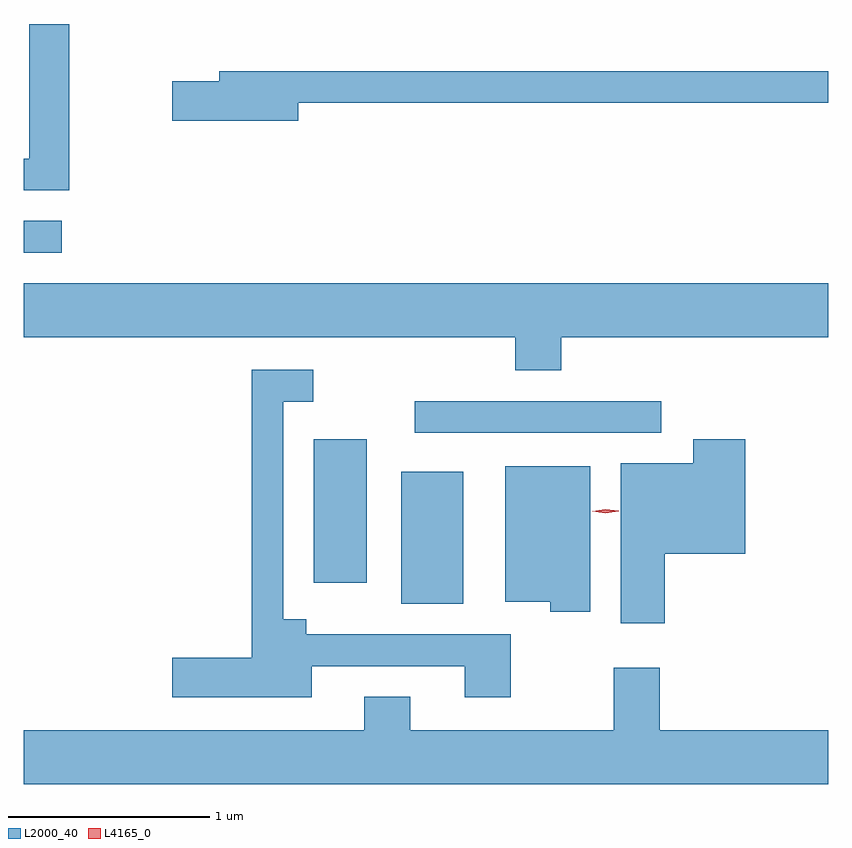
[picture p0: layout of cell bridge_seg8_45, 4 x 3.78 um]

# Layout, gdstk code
import gdstk
lib = gdstk.Library(unit=1e-6, precision=1e-09)
def R(c, l, rs):  # rectangles x0, y0, x1, y1
    for r in rs: c.add(gdstk.rectangle(r[:2], r[2:], *l))
def P(c, l, *ps):  # polygons
    for p in ps: c.add(gdstk.Polygon(p, *l))
L2000_40 = (2000, 40)
L4165_0 = (4165, 0)

bridge_seg8_45 = lib.new_cell('bridge_seg8_45')
R(bridge_seg8_45, L2000_40, [(1588.736,1910.571,1589.044,1911.229), (1588.301,1910.676,1588.564,1911.389), (1588.803,1911.421,1590.028,1911.579), (1586.858,1912.316,1587.048,1912.474)])
P(bridge_seg8_45, L2000_40, [(1587.084,1913.453),(1586.886,1913.453),(1586.886,1912.784),(1586.858,1912.784),(1586.858,1912.626),(1587.084,1912.626)],
  [(1588.224,1913.061),(1590.858,1913.061),(1590.858,1913.219),(1587.831,1913.219),(1587.831,1913.169),(1587.596,1913.169),(1587.596,1912.971),(1588.224,1912.971)],
  [(1589.529,1911.896),(1590.858,1911.896),(1590.858,1912.164),(1586.858,1912.164),(1586.858,1911.896),(1589.301,1911.896),(1589.301,1911.731),(1589.529,1911.731)],
  [(1588.289,1910.261),(1589.051,1910.261),(1589.051,1910.106),(1589.279,1910.106),(1589.279,1910.419),(1588.264,1910.419),(1588.264,1910.494),(1588.149,1910.494),(1588.149,1911.576),(1588.298,1911.576),(1588.298,1911.734),(1587.991,1911.734),(1587.991,1910.304),(1587.596,1910.304),(1587.596,1910.106),(1588.289,1910.106)],
  [(1590.044,1910.821),(1590.444,1910.821),(1590.444,1911.389),(1590.186,1911.389),(1590.186,1911.269),(1589.826,1911.269),(1589.826,1910.476),(1590.044,1910.476)],
  [(1589.674,1911.254),(1589.251,1911.254),(1589.251,1910.581),(1589.476,1910.581),(1589.476,1910.531),(1589.674,1910.531)],
  [(1590.858,1909.944),(1590.019,1909.944),(1590.019,1910.254),(1589.791,1910.254),(1589.791,1909.944),(1588.779,1909.944),(1588.779,1910.109),(1588.551,1910.109),(1588.551,1909.944),(1586.858,1909.944),(1586.858,1909.676),(1590.858,1909.676)])
P(bridge_seg8_45, L4165_0, [(1589.75,1911.022),(1589.684,1911.031),(1589.684,1911.032),(1589.684,1911.032),(1589.75,1911.042),(1589.816,1911.033),(1589.816,1911.032),(1589.816,1911.032)])

lib.write_gds('bridge_seg8_45.gds')
